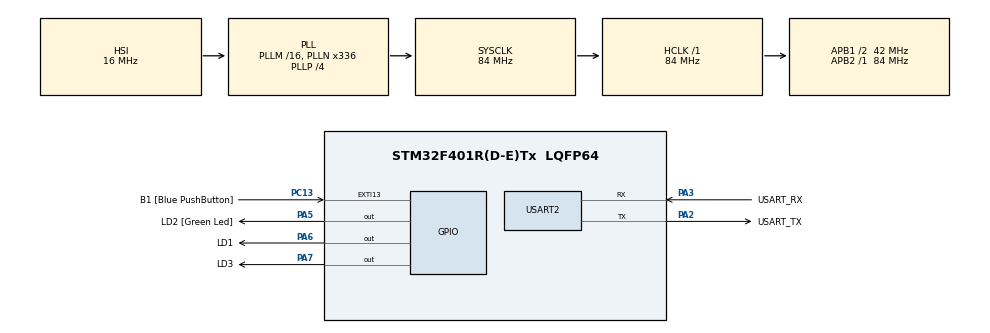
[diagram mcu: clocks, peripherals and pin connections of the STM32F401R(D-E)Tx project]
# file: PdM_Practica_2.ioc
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Mcu.Family=STM32F4
Mcu.Name=STM32F401R(D-E)Tx
Mcu.Package=LQFP64
NVIC.PriorityGroup=NVIC_PRIORITYGROUP_0
PA13.GPIO_Label=TMS
PA13.Mode=Serial_Wire
PA13.Signal=SYS_JTMS-SWDIO
PA14.GPIO_Label=TCK
PA14.Mode=Serial_Wire
PA14.Signal=SYS_JTCK-SWCLK
PA2.GPIO_Label=USART_TX
PA2.GPIO_Mode=GPIO_MODE_AF_PP
PA2.GPIO_PuPd=GPIO_NOPULL
PA2.GPIO_Speed=GPIO_SPEED_FREQ_LOW
PA2.Mode=Asynchronous
PA2.Signal=USART2_TX
PA3.GPIO_Label=USART_RX
PA3.GPIO_Mode=GPIO_MODE_AF_PP
PA3.GPIO_PuPd=GPIO_NOPULL
PA3.GPIO_Speed=GPIO_SPEED_FREQ_LOW
PA3.Mode=Asynchronous
PA3.Signal=USART2_RX
PA5.GPIO_Label=LD2 [Green Led]
PA5.GPIO_Mode=GPIO_MODE_OUTPUT_PP
PA5.GPIO_PuPd=GPIO_NOPULL
PA5.GPIO_Speed=GPIO_SPEED_FREQ_LOW
PA5.Signal=GPIO_Output
PA6.GPIO_Label=LD1
PA6.Signal=GPIO_Output
PA7.GPIO_Label=LD3
PA7.Signal=GPIO_Output
PB3.GPIO_Label=SWO
PB3.Signal=SYS_JTDO-SWO
PC13-ANTI_TAMP.GPIO_Label=B1 [Blue PushButton]
PC13-ANTI_TAMP.GPIO_ModeDefaultEXTI=GPIO_MODE_IT_FALLING
PC13-ANTI_TAMP.GPIO_PuPd=GPIO_NOPULL
PC13-ANTI_TAMP.Signal=GPXTI13
PC14-OSC32_IN.Mode=LSE-External-Oscillator
PC14-OSC32_IN.Signal=RCC_OSC32_IN
PC15-OSC32_OUT.Mode=LSE-External-Oscillator
PC15-OSC32_OUT.Signal=RCC_OSC32_OUT
PH0\ -\ OSC_IN.Mode=HSE-External-Clock-Source
PH0\ -\ OSC_IN.Signal=RCC_OSC_IN
PH1\ -\ OSC_OUT.Mode=HSE-External-Clock-Source
PH1\ -\ OSC_OUT.Signal=RCC_OSC_OUT
ProjectManager.HeapSize=0x200
ProjectManager.StackSize=0x400
ProjectManager.TargetToolchain=STM32CubeIDE
RCC.48MHZClocksFreq_Value=48000000
RCC.AHBFreq_Value=84000000
RCC.APB1CLKDivider=RCC_HCLK_DIV2
RCC.APB1Freq_Value=42000000
RCC.APB1TimFreq_Value=84000000
RCC.APB2Freq_Value=84000000
RCC.APB2TimFreq_Value=84000000
RCC.CortexFreq_Value=84000000
RCC.HCLKFreq_Value=84000000
RCC.HSE_VALUE=8000000
RCC.HSI_VALUE=16000000
RCC.PLLN=336
RCC.PLLP=RCC_PLLP_DIV4
RCC.PLLQ=7
RCC.SYSCLKFreq_VALUE=84000000
RCC.SYSCLKSource=RCC_SYSCLKSOURCE_PLLCLK
RCC.VCOOutputFreq_Value=336000000
USART2.VirtualMode=VM_ASYNC
board=NUCLEO-F401RE

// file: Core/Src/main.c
/* USER CODE BEGIN Header */
/**
 ******************************************************************************
 * @file           : main.c
 * @brief          : Main program body
 ******************************************************************************
 * @attention
 *
 * Copyright (c) 2023 STMicroelectronics.
 * All rights reserved.
 *
 * This software is licensed under terms that can be found in the LICENSE file
 * in the root directory of this software component.
 * If no LICENSE file comes with this software, it is provided AS-IS.
 *
 ******************************************************************************
 */
/* USER CODE END Header */
#include "main.h"

UART_HandleTypeDef huart2;

void SystemClock_Config(void);
static void MX_GPIO_Init(void);
static void MX_USART2_UART_Init(void);

int main(void)
{

  /* MCU Configuration--------------------------------------------------------*/

  /* Reset of all peripherals, Initializes the Flash interface and the Systick. */
  HAL_Init();

  /* Configure the system clock */
  SystemClock_Config();

  /* Initialize all configured peripherals */
  MX_GPIO_Init();
  MX_USART2_UART_Init();
  /* USER CODE BEGIN 2 */

  static delay_t LD1_Delay;
  static delay_t LD2_Delay;
  static delay_t LD3_Delay;

  const ledConf_t led1 = {
      .pin = LD1_Pin,
      .port = LD1_GPIO_Port,
      .delay = &LD1_Delay};

  const ledConf_t led2 = {
      .pin = LD2_Pin,
      .port = LD2_GPIO_Port,
      .delay = &LD2_Delay};

  const ledConf_t led3 = {
      .pin = LD3_Pin,
      .port = LD3_GPIO_Port,
      .delay = &LD3_Delay};

  static ledConf_t ledArray[3] = {led1, led2, led3};

  delayInit(led1.delay, LED1_DURATION);
  delayInit(led2.delay, LED2_DURATION);
  delayInit(led3.delay, LED3_DURATION);
  /* USER CODE END 2 */

  /* Infinite loop */
  /* USER CODE BEGIN WHILE */
  static bool isDelayCompleted;

  while (1)
  {
    /* USER CODE END WHILE */

    for (int i = 0; i < (sizeof(ledArray)/sizeof(*ledArray)); i++)
    {
      isDelayCompleted = delayRead(ledArray[i].delay);
      if (isDelayCompleted)
      {
        HAL_GPIO_TogglePin(ledArray[i].port, ledArray[i].pin);
      }

    }
  }
}

/* PARCTICA 2 CODE BEGIN*/

void delayInit(delay_t *delay, tick_t duration)
{
  delay->duration = duration;
  delay->running = false;
  delay->startTime = 0;
}

bool_t delayRead(delay_t *delay)
{
  tick_t timeDifference;
  if (delay->running == false)
  {
    delay->running = true;
    delay->startTime = HAL_GetTick();
    return false;
  }
  else
  {
    /*diferencias entre tiempo actual y el guardado como comienzo*/
    timeDifference = HAL_GetTick() - delay->startTime;
    if (timeDifference < delay->duration)
    {
      return false;
    }
    else
    {
      delay->running = false;
      return true;
    }
  }
}

void delayWrite(delay_t *delay, tick_t duration)
{
  delay->duration = duration;
}
/* PARCTICA 2 CODE END*/

void SystemClock_Config(void)
{
  RCC_OscInitTypeDef RCC_OscInitStruct = {0};
  RCC_ClkInitTypeDef RCC_ClkInitStruct = {0};

  /** Configure the main internal regulator output voltage
   */
  __HAL_RCC_PWR_CLK_ENABLE();
  __HAL_PWR_VOLTAGESCALING_CONFIG(PWR_REGULATOR_VOLTAGE_SCALE2);

  /** Initializes the RCC Oscillators according to the specified parameters
   * in the RCC_OscInitTypeDef structure.
   */
  RCC_OscInitStruct.OscillatorType = RCC_OSCILLATORTYPE_HSI;
  RCC_OscInitStruct.HSIState = RCC_HSI_ON;
  RCC_OscInitStruct.HSICalibrationValue = RCC_HSICALIBRATION_DEFAULT;
  RCC_OscInitStruct.PLL.PLLState = RCC_PLL_ON;
  RCC_OscInitStruct.PLL.PLLSource = RCC_PLLSOURCE_HSI;
  RCC_OscInitStruct.PLL.PLLM = 16;
  RCC_OscInitStruct.PLL.PLLN = 336;
  RCC_OscInitStruct.PLL.PLLP = RCC_PLLP_DIV4;
  RCC_OscInitStruct.PLL.PLLQ = 7;
  if (HAL_RCC_OscConfig(&RCC_OscInitStruct) != HAL_OK)
  {
    Error_Handler();
  }

  /** Initializes the CPU, AHB and APB buses clocks
   */
  RCC_ClkInitStruct.ClockType = RCC_CLOCKTYPE_HCLK | RCC_CLOCKTYPE_SYSCLK | RCC_CLOCKTYPE_PCLK1 | RCC_CLOCKTYPE_PCLK2;
  RCC_ClkInitStruct.SYSCLKSource = RCC_SYSCLKSOURCE_PLLCLK;
  RCC_ClkInitStruct.AHBCLKDivider = RCC_SYSCLK_DIV1;
  RCC_ClkInitStruct.APB1CLKDivider = RCC_HCLK_DIV2;
  RCC_ClkInitStruct.APB2CLKDivider = RCC_HCLK_DIV1;

  if (HAL_RCC_ClockConfig(&RCC_ClkInitStruct, FLASH_LATENCY_2) != HAL_OK)
  {
    Error_Handler();
  }
}

static void MX_USART2_UART_Init(void)
{

  huart2.Instance = USART2;
  huart2.Init.BaudRate = 115200;
  huart2.Init.WordLength = UART_WORDLENGTH_8B;
  huart2.Init.StopBits = UART_STOPBITS_1;
  huart2.Init.Parity = UART_PARITY_NONE;
  huart2.Init.Mode = UART_MODE_TX_RX;
  huart2.Init.HwFlowCtl = UART_HWCONTROL_NONE;
  huart2.Init.OverSampling = UART_OVERSAMPLING_16;
  if (HAL_UART_Init(&huart2) != HAL_OK)
  {
    Error_Handler();
  }
}

static void MX_GPIO_Init(void)
{
  GPIO_InitTypeDef GPIO_InitStruct = {0};

  /* GPIO Ports Clock Enable */
  __HAL_RCC_GPIOC_CLK_ENABLE();
  __HAL_RCC_GPIOH_CLK_ENABLE();
  __HAL_RCC_GPIOA_CLK_ENABLE();
  __HAL_RCC_GPIOB_CLK_ENABLE();

  /*Configure GPIO pin Output Level */
  HAL_GPIO_WritePin(GPIOA, LD2_Pin | LD1_Pin | LD3_Pin, GPIO_PIN_RESET);

  /*Configure GPIO pin : B1_Pin */
  GPIO_InitStruct.Pin = B1_Pin;
  GPIO_InitStruct.Mode = GPIO_MODE_IT_FALLING;
  GPIO_InitStruct.Pull = GPIO_NOPULL;
  HAL_GPIO_Init(B1_GPIO_Port, &GPIO_InitStruct);

  /*Configure GPIO pins : LD2_Pin LD1_Pin LD3_Pin */
  GPIO_InitStruct.Pin = LD2_Pin | LD1_Pin | LD3_Pin;
  GPIO_InitStruct.Mode = GPIO_MODE_OUTPUT_PP;
  GPIO_InitStruct.Pull = GPIO_NOPULL;
  GPIO_InitStruct.Speed = GPIO_SPEED_FREQ_LOW;
  HAL_GPIO_Init(GPIOA, &GPIO_InitStruct);

}

void Error_Handler(void)
{
  __disable_irq();
  while (1)
  {
  }
}
